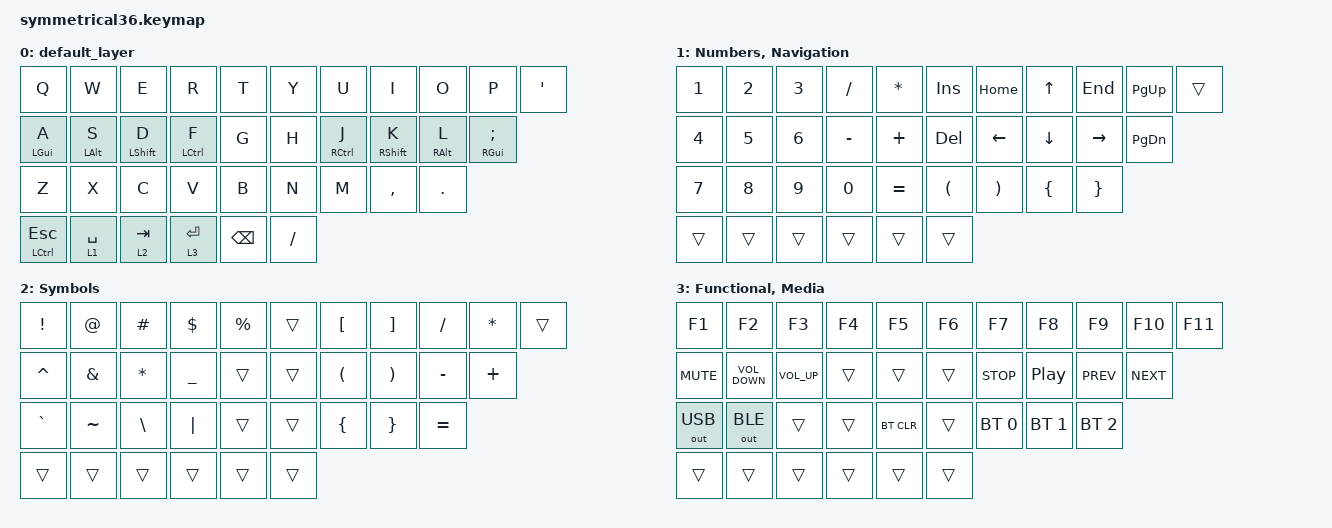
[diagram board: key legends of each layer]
#include <behaviors.dtsi>
#include <dt-bindings/zmk/bt.h>
#include <dt-bindings/zmk/keys.h>
#include <dt-bindings/zmk/outputs.h>

&mt { flavor = "tap-preferred"; };

/ {
    keymap {
        compatible = "zmk,keymap";

        default_layer {
            bindings = <
&kp Q             &kp W           &kp E             &kp R        &kp T          &kp Y      &kp U        &kp I              &kp O            &kp P                    &kp SQT
&mt LGUI A        &mt LEFT_ALT S  &mt LEFT_SHIFT D  &mt LCTRL F  &kp G          &kp H      &mt RCTRL J  &mt RIGHT_SHIFT K  &mt RIGHT_ALT L  &mt RIGHT_GUI SEMICOLON
&kp Z             &kp X           &kp C             &kp V        &kp B          &kp N      &kp M        &kp COMMA          &kp DOT
&mt LCTRL ESCAPE  &lt 1 SPACE     &lt 2 TAB         &lt 3 ENTER  &kp BACKSPACE  &kp SLASH
            >;
        };

        numnav {
            bindings = <
&kp N1  &kp N2  &kp N3  &kp SLASH     &kp ASTERISK  &kp INSERT            &kp HOME               &kp UP_ARROW    &kp END          &kp PG_UP  &trans
&kp N4  &kp N5  &kp N6  &kp MINUS     &kp PLUS      &kp DELETE            &kp LEFT               &kp DOWN_ARROW  &kp RIGHT        &kp PG_DN
&kp N7  &kp N8  &kp N9  &kp NUMBER_0  &kp EQUAL     &kp LEFT_PARENTHESIS  &kp RIGHT_PARENTHESIS  &kp LEFT_BRACE  &kp RIGHT_BRACE
&trans  &trans  &trans  &trans        &trans        &trans
            >;

            label = "Numbers, Navigation";
        };

        sym {
            bindings = <
&kp EXCLAMATION  &kp AT_SIGN    &kp POUND     &kp DOLLAR      &kp PERCENT  &trans  &kp LBKT              &kp RBKT               &kp SLASH  &kp ASTERISK  &trans
&kp CARET        &kp AMPERSAND  &kp ASTERISK  &kp UNDERSCORE  &trans       &trans  &kp LEFT_PARENTHESIS  &kp RIGHT_PARENTHESIS  &kp MINUS  &kp PLUS
&kp GRAVE        &kp TILDE      &kp BSLH      &kp PIPE        &trans       &trans  &kp LEFT_BRACE        &kp RIGHT_BRACE        &kp EQUAL
&trans           &trans         &trans        &trans          &trans       &trans
            >;

            label = "Symbols";
        };

        funmdi {
            bindings = <
&kp F1        &kp F2             &kp F3           &kp F4  &kp F5      &kp F6  &kp F7        &kp F8            &kp F9        &kp F10     &kp F11
&kp C_MUTE    &kp C_VOLUME_DOWN  &kp C_VOLUME_UP  &trans  &trans      &trans  &kp C_STOP    &kp C_PLAY_PAUSE  &kp C_PREV    &kp C_NEXT
&out OUT_USB  &out OUT_BLE       &trans           &trans  &bt BT_CLR  &trans  &bt BT_SEL 0  &bt BT_SEL 1      &bt BT_SEL 2
&trans        &trans             &trans           &trans  &trans      &trans
            >;

            label = "Functional, Media";
        };
    };

    combos {
        compatible = "zmk,combos";

        q_quote_as_bootloader {
            timeout-ms = <50>;
            key-positions = <0 10>;
            bindings = <&bootloader>;
        };
    };
};
